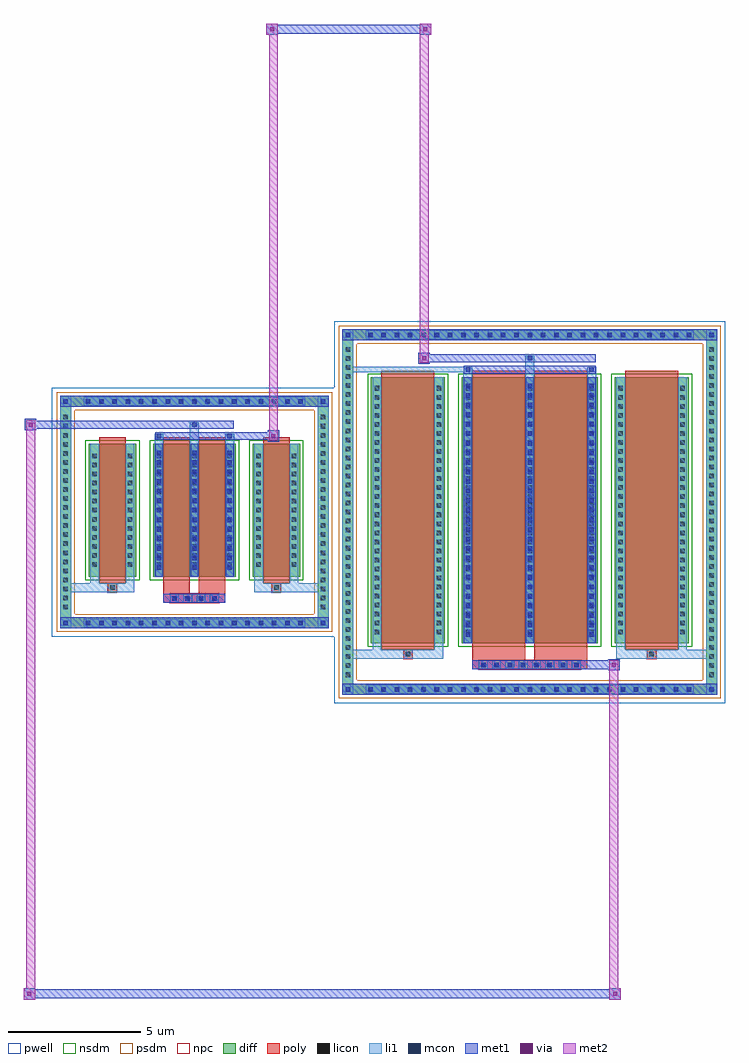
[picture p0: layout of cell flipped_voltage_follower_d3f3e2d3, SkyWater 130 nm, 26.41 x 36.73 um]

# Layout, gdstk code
import gdstk
lib = gdstk.Library(unit=1e-6, precision=5e-09)
def R(c, l, rs):  # rectangles x0, y0, x1, y1
    for r in rs: c.add(gdstk.rectangle(r[:2], r[2:], *l))
def A(c, l, x, y, w, h, nx, ny, dx, dy):  # array of equal rectangles
    R(c, l, [(x+i*dx, y+j*dy, x+i*dx+w, y+j*dy+h) for i in range(nx) for j in range(ny)])
def P(c, l, *ps):  # polygons
    for p in ps: c.add(gdstk.Polygon(p, *l))
pwell = (64, 44)
diff = (65, 20)
poly = (66, 20)
licon = (66, 44)
li1 = (67, 20)
mcon = (67, 44)
met1 = (68, 20)
via = (68, 44)
met2 = (69, 20)
nsdm = (93, 44)
psdm = (94, 20)
npc = (95, 20)

flipped_voltage_follower = lib.new_cell('flipped_voltage_follower_d3f3e2d3')
R(flipped_voltage_follower, pwell, [(5.26,-7.185,19.98,7.185), (-5.36,-4.685,5.36,4.685)])
A(flipped_voltage_follower, diff, 6.415, -6.875, 0.41, 0.41, 25, 2, 0.5, 13.34)
A(flipped_voltage_follower, diff, 5.57, -6.325, 0.41, 0.41, 1, 37, 0, 0.34)
A(flipped_voltage_follower, diff, 19.26, -6.325, 0.41, 0.41, 1, 37, 0, 0.34)
A(flipped_voltage_follower, diff, -4.205, -4.375, 0.41, 0.41, 17, 2, 0.5, 8.34)
A(flipped_voltage_follower, diff, -5.05, -3.775, 0.41, 0.41, 1, 22, 0, 0.34)
A(flipped_voltage_follower, diff, 4.64, -3.775, 0.41, 0.41, 1, 22, 0, 0.34)
R(flipped_voltage_follower, diff, [(6.415,-6.875,18.825,-6.465), (5.57,-6.325,5.98,6.325), (19.26,-6.325,19.67,6.325), (6.645,-4.93,9.425,5.07), (10.065,-4.93,15.175,5.07), (15.815,-4.93,18.595,5.07), (-4.205,-4.375,4.205,-3.965), (-5.05,-3.775,-4.64,3.775), (4.64,-3.775,5.05,3.775), (-3.975,-2.43,-2.195,2.57), (-1.555,-2.43,1.555,2.57), (2.195,-2.43,3.975,2.57), (-4.205,3.965,4.205,4.375), (6.415,6.465,18.825,6.875)])
P(flipped_voltage_follower, diff, [(5.05,4.375),(-5.05,4.375),(-5.05,-3.965),(-4.64,-3.965),(-4.64,3.965),(4.64,3.965),(4.64,-3.965),(-4.64,-3.965),(-5.05,-3.965),(-5.05,-4.375),(5.05,-4.375)],
  [(19.67,6.875),(5.57,6.875),(5.57,-6.465),(5.98,-6.465),(5.98,6.465),(19.26,6.465),(19.26,-6.465),(5.98,-6.465),(5.57,-6.465),(5.57,-6.875),(19.67,-6.875)])
A(flipped_voltage_follower, poly, 10.705, -5.91, 0.33, 0.33, 8, 1, 0.5, 0)
A(flipped_voltage_follower, poly, -0.915, -3.41, 0.33, 0.33, 4, 1, 0.5, 0)
R(flipped_voltage_follower, poly, [(10.455,-5.91,14.785,-5.58), (10.455,-5.58,12.455,-5.18), (12.785,-5.58,14.785,-5.18), (7.87,-5.51,8.2,-5.18), (7.87,-5.51,8.2,-5.18), (17.04,-5.51,17.37,-5.18), (17.04,-5.51,17.37,-5.18), (7.035,-5.18,9.035,5.32), (10.455,-5.18,12.455,5.32), (12.785,-5.18,14.785,5.32), (16.205,-5.18,18.205,5.32), (-1.165,-3.41,1.165,-3.08), (-1.165,-3.08,-0.165,-2.68), (0.165,-3.08,1.165,-2.68), (-3.25,-3.01,-2.92,-2.68), (-3.25,-3.01,-2.92,-2.68), (2.92,-3.01,3.25,-2.68), (2.92,-3.01,3.25,-2.68), (-3.585,-2.68,-2.585,2.82), (-1.165,-2.68,-0.165,2.82), (0.165,-2.68,1.165,2.82), (2.585,-2.68,3.585,2.82)])
A(flipped_voltage_follower, licon, 6.535, -6.755, 0.17, 0.17, 25, 2, 0.5, 13.34)
A(flipped_voltage_follower, licon, 5.69, -6.205, 0.17, 0.17, 1, 37, 0, 0.34)
A(flipped_voltage_follower, licon, 19.38, -6.205, 0.17, 0.17, 1, 37, 0, 0.34)
A(flipped_voltage_follower, licon, 10.785, -5.83, 0.17, 0.17, 8, 1, 0.5, 0)
A(flipped_voltage_follower, licon, 6.785, -4.605, 0.17, 0.17, 1, 28, 0, 0.34)
A(flipped_voltage_follower, licon, 9.115, -4.605, 0.17, 0.17, 1, 28, 0, 0.34)
A(flipped_voltage_follower, licon, 10.205, -4.605, 0.17, 0.17, 3, 28, 2.33, 0.34)
A(flipped_voltage_follower, licon, 15.955, -4.605, 0.17, 0.17, 1, 28, 0, 0.34)
A(flipped_voltage_follower, licon, 18.285, -4.605, 0.17, 0.17, 1, 28, 0, 0.34)
A(flipped_voltage_follower, licon, -4.085, -4.255, 0.17, 0.17, 17, 2, 0.5, 8.34)
A(flipped_voltage_follower, licon, -4.93, -3.655, 0.17, 0.17, 1, 22, 0, 0.34)
A(flipped_voltage_follower, licon, 4.76, -3.655, 0.17, 0.17, 1, 22, 0, 0.34)
A(flipped_voltage_follower, licon, -0.835, -3.33, 0.17, 0.17, 4, 1, 0.5, 0)
A(flipped_voltage_follower, licon, -3.835, -2.055, 0.17, 0.17, 1, 13, 0, 0.34)
A(flipped_voltage_follower, licon, -2.505, -2.055, 0.17, 0.17, 1, 13, 0, 0.34)
A(flipped_voltage_follower, licon, -1.415, -2.055, 0.17, 0.17, 3, 13, 1.33, 0.34)
A(flipped_voltage_follower, licon, 2.335, -2.055, 0.17, 0.17, 1, 13, 0, 0.34)
A(flipped_voltage_follower, licon, 3.665, -2.055, 0.17, 0.17, 1, 13, 0, 0.34)
R(flipped_voltage_follower, licon, [(7.95,-5.43,8.12,-5.26), (17.12,-5.43,17.29,-5.26), (-3.17,-2.93,-3,-2.76), (3,-2.93,3.17,-2.76)])
A(flipped_voltage_follower, li1, 6.455, -6.835, 0.33, 0.33, 25, 2, 0.5, 13.34)
A(flipped_voltage_follower, li1, 5.61, -6.285, 0.33, 0.33, 1, 37, 0, 0.34)
A(flipped_voltage_follower, li1, 19.3, -6.285, 0.33, 0.33, 1, 37, 0, 0.34)
A(flipped_voltage_follower, li1, 10.705, -5.91, 0.33, 0.33, 8, 1, 0.5, 0)
A(flipped_voltage_follower, li1, 10.125, -4.93, 0.33, 10, 3, 1, 2.33, 0)
A(flipped_voltage_follower, li1, 10.205, -4.695, 0.17, 0.17, 3, 27, 2.33, 0.36)
A(flipped_voltage_follower, li1, 10.205, -4.695, 0.17, 9.53, 3, 1, 2.33, 0)
A(flipped_voltage_follower, li1, 6.705, -4.685, 0.33, 0.33, 1, 28, 0, 0.34)
A(flipped_voltage_follower, li1, 9.035, -4.685, 0.33, 0.33, 1, 28, 0, 0.34)
A(flipped_voltage_follower, li1, 10.125, -4.685, 0.33, 0.33, 3, 28, 2.33, 0.34)
A(flipped_voltage_follower, li1, 15.875, -4.685, 0.33, 0.33, 1, 28, 0, 0.34)
A(flipped_voltage_follower, li1, 18.205, -4.685, 0.33, 0.33, 1, 28, 0, 0.34)
A(flipped_voltage_follower, li1, -4.165, -4.335, 0.33, 0.33, 17, 2, 0.5, 8.34)
A(flipped_voltage_follower, li1, -5.01, -3.735, 0.33, 0.33, 1, 22, 0, 0.34)
A(flipped_voltage_follower, li1, 4.68, -3.735, 0.33, 0.33, 1, 22, 0, 0.34)
A(flipped_voltage_follower, li1, -0.915, -3.41, 0.33, 0.33, 4, 1, 0.5, 0)
A(flipped_voltage_follower, li1, -1.495, -2.43, 0.33, 5, 3, 1, 1.33, 0)
A(flipped_voltage_follower, li1, -1.415, -2.175, 0.17, 0.17, 3, 13, 1.33, 0.36)
A(flipped_voltage_follower, li1, -1.415, -2.175, 0.17, 4.49, 3, 1, 1.33, 0)
A(flipped_voltage_follower, li1, -3.915, -2.135, 0.33, 0.33, 1, 13, 0, 0.34)
A(flipped_voltage_follower, li1, -2.585, -2.135, 0.33, 0.33, 1, 13, 0, 0.34)
A(flipped_voltage_follower, li1, -1.495, -2.135, 0.33, 0.33, 3, 13, 1.33, 0.34)
A(flipped_voltage_follower, li1, 2.255, -2.135, 0.33, 0.33, 1, 13, 0, 0.34)
A(flipped_voltage_follower, li1, 3.585, -2.135, 0.33, 0.33, 1, 13, 0, 0.34)
R(flipped_voltage_follower, li1, [(5.57,-6.875,5.98,-6.465), (19.26,-6.875,19.67,-6.465), (6.455,-6.835,18.785,-6.505), (5.69,-6.755,5.86,-6.585), (5.69,-6.755,5.86,-6.585), (19.38,-6.755,19.55,-6.585), (19.38,-6.755,19.55,-6.585), (5.57,-6.465,5.98,6.465), (19.26,-6.465,19.67,6.465), (5.57,-5.51,7.87,-5.18), (6.705,-5.51,7.035,-4.93), (6.705,-5.51,7.87,-5.18), (7.87,-5.51,8.2,-5.18), (8.2,-5.51,9.365,-5.18), (9.035,-5.51,9.365,-4.93), (15.875,-5.51,16.205,-4.93), (15.875,-5.51,17.04,-5.18), (17.04,-5.51,17.37,-5.18), (17.04,-5.51,19.67,-5.18), (17.37,-5.51,18.535,-5.18), (18.205,-5.51,18.535,-4.93), (6.705,-4.93,7.035,5.07), (9.035,-4.93,9.365,5.07), (15.875,-4.93,16.205,5.07), (18.205,-4.93,18.535,5.07), (-5.05,-4.375,-4.64,-3.965), (4.64,-4.375,5.05,-3.965), (-4.165,-4.335,4.165,-4.005), (-4.93,-4.255,-4.76,-4.085), (-4.93,-4.255,-4.76,-4.085), (4.76,-4.255,4.93,-4.085), (4.76,-4.255,4.93,-4.085), (-5.05,-3.965,-4.64,3.965), (4.64,-3.965,5.05,3.965), (-5.05,-3.01,-3.25,-2.68), (-3.915,-3.01,-3.25,-2.68), (-3.915,-3.01,-3.585,-2.43), (-3.25,-3.01,-2.92,-2.68), (-2.92,-3.01,-2.255,-2.68), (-2.585,-3.01,-2.255,-2.43), (2.255,-3.01,2.92,-2.68), (2.255,-3.01,2.585,-2.43), (2.92,-3.01,3.25,-2.68), (2.92,-3.01,5.05,-2.68), (3.25,-3.01,3.915,-2.68), (3.585,-3.01,3.915,-2.43), (-3.915,-2.43,-3.585,2.57), (-2.585,-2.43,-2.255,2.57), (2.255,-2.43,2.585,2.57), (3.585,-2.43,3.915,2.57), (-1.495,2.57,-1.165,2.945), (-0.165,2.57,0.165,3.375), (1.165,2.57,1.495,2.945), (-1.415,2.775,-1.245,2.945), (1.245,2.775,1.415,2.945), (-0.085,3.205,0.085,3.375), (-5.05,3.965,-4.64,4.375), (4.64,3.965,5.05,4.375), (-4.165,4.005,4.165,4.335), (-4.93,4.085,-4.76,4.255), (-4.93,4.085,-4.76,4.255), (4.76,4.085,4.93,4.255), (4.76,4.085,4.93,4.255), (10.125,5.07,10.455,5.445), (12.455,5.07,12.785,5.875), (14.785,5.07,15.115,5.445), (10.145,5.215,10.435,5.505), (5.57,5.26,10.145,5.46), (10.205,5.275,10.375,5.445), (10.205,5.275,10.375,5.445), (14.865,5.275,15.035,5.445), (12.535,5.705,12.705,5.875), (5.57,6.465,5.98,6.875), (19.26,6.465,19.67,6.875), (6.455,6.505,18.785,6.835), (5.69,6.585,5.86,6.755), (5.69,6.585,5.86,6.755), (19.38,6.585,19.55,6.755), (19.38,6.585,19.55,6.755)])
A(flipped_voltage_follower, mcon, 6.535, -6.755, 0.17, 0.17, 25, 2, 0.5, 13.34)
A(flipped_voltage_follower, mcon, 10.785, -5.83, 0.17, 0.17, 8, 1, 0.5, 0)
A(flipped_voltage_follower, mcon, 10.205, -4.695, 0.17, 0.17, 3, 27, 2.33, 0.36)
A(flipped_voltage_follower, mcon, -4.085, -4.255, 0.17, 0.17, 17, 2, 0.5, 8.34)
A(flipped_voltage_follower, mcon, -0.835, -3.33, 0.17, 0.17, 4, 1, 0.5, 0)
A(flipped_voltage_follower, mcon, -1.415, -2.175, 0.17, 0.17, 3, 13, 1.33, 0.36)
R(flipped_voltage_follower, mcon, [(5.69,-6.755,5.86,-6.585), (19.38,-6.755,19.55,-6.585), (-4.93,-4.255,-4.76,-4.085), (4.76,-4.255,4.93,-4.085), (-1.415,2.775,-1.245,2.945), (1.245,2.775,1.415,2.945), (-0.085,3.205,0.085,3.375), (-4.93,4.085,-4.76,4.255), (4.76,4.085,4.93,4.255), (10.205,5.275,10.375,5.445), (10.205,5.275,10.375,5.445), (14.865,5.275,15.035,5.445), (12.535,5.705,12.705,5.875), (5.69,6.585,5.86,6.755), (19.38,6.585,19.55,6.755)])
A(flipped_voltage_follower, met1, 6.475, -6.815, 0.29, 0.29, 25, 2, 0.5, 13.34)
A(flipped_voltage_follower, met1, 10.725, -5.89, 0.29, 0.29, 8, 1, 0.5, 0)
A(flipped_voltage_follower, met1, 10.145, -4.93, 0.29, 10, 3, 1, 2.33, 0)
A(flipped_voltage_follower, met1, 10.145, -4.755, 0.29, 0.29, 3, 27, 2.33, 0.36)
A(flipped_voltage_follower, met1, -4.145, -4.315, 0.29, 0.29, 17, 2, 0.5, 8.34)
A(flipped_voltage_follower, met1, -0.895, -3.39, 0.29, 0.29, 4, 1, 0.5, 0)
A(flipped_voltage_follower, met1, -1.475, -2.43, 0.29, 5, 3, 1, 1.33, 0)
A(flipped_voltage_follower, met1, -1.475, -2.235, 0.29, 0.29, 3, 13, 1.33, 0.36)
R(flipped_voltage_follower, met1, [(-6.425,-18.34,-5.995,-17.91), (15.62,-18.34,16.05,-17.91), (-6.425,-18.29,16.05,-17.96), (-6.425,-17.96,-5.995,-17.91), (15.62,-17.96,16.05,-17.91), (5.57,-6.875,5.98,-6.465), (5.57,-6.875,5.98,-6.465), (5.98,-6.875,19.26,-6.465), (19.26,-6.875,19.67,-6.465), (19.26,-6.875,19.67,-6.465), (5.63,-6.815,5.92,-6.525), (19.32,-6.815,19.61,-6.525), (15.57,-5.96,16,-5.53), (10.455,-5.91,14.785,-5.58), (14.785,-5.91,15.57,-5.58), (-5.05,-4.375,-4.64,-3.965), (-5.05,-4.375,-4.64,-3.965), (-4.64,-4.375,4.64,-3.965), (4.64,-4.375,5.05,-3.965), (4.64,-4.375,5.05,-3.965), (-4.99,-4.315,-4.7,-4.025), (4.7,-4.315,4.99,-4.025), (-1.165,-3.41,1.165,-3.08), (2.76,2.645,3.19,3.075), (-1.475,2.715,-1.185,3.005), (-1.475,2.715,1.475,3.005), (1.185,2.715,1.475,3.005), (1.475,2.715,2.76,3.005), (-6.375,3.075,-5.945,3.505), (-5.945,3.145,-1.475,3.435), (-1.475,3.145,1.475,3.435), (-0.145,3.145,0.145,3.435), (-5.05,3.965,-4.64,4.375), (-5.05,3.965,-4.64,4.375), (-4.64,3.965,4.64,4.375), (4.64,3.965,5.05,4.375), (4.64,3.965,5.05,4.375), (-4.99,4.025,-4.7,4.315), (4.7,4.025,4.99,4.315), (10.145,5.215,10.435,5.505), (10.145,5.215,10.435,5.505), (10.145,5.215,15.095,5.505), (14.805,5.215,15.095,5.505), (8.43,5.575,8.86,6.005), (8.86,5.645,10.145,5.935), (10.145,5.645,15.095,5.935), (12.475,5.645,12.765,5.935), (5.57,6.465,5.98,6.875), (5.57,6.465,5.98,6.875), (5.98,6.465,19.26,6.875), (19.26,6.465,19.67,6.875), (19.26,6.465,19.67,6.875), (5.63,6.525,5.92,6.815), (19.32,6.525,19.61,6.815), (2.71,17.955,3.14,18.385), (8.48,17.955,8.91,18.385), (2.71,18.005,8.91,18.335), (2.71,18.335,3.14,18.385), (8.48,18.335,8.91,18.385)])
R(flipped_voltage_follower, via, [(-6.285,-18.2,-6.135,-18.05), (15.76,-18.2,15.91,-18.05), (15.71,-5.82,15.86,-5.67), (2.9,2.785,3.05,2.935), (-6.235,3.215,-6.085,3.365), (8.57,5.715,8.72,5.865), (2.85,18.095,3,18.245), (8.62,18.095,8.77,18.245)])
R(flipped_voltage_follower, met2, [(-6.425,-18.34,-5.995,-17.91), (-6.325,-18.34,-5.995,3.125), (15.62,-18.34,16.05,-17.91), (15.62,-18.34,15.95,-5.91), (-6.375,-18.29,-6.045,-17.96), (15.67,-18.29,16,-17.96), (15.62,-5.91,15.95,-5.58), (2.81,2.695,3.14,3.025), (2.81,3.025,3.14,18.385), (-6.325,3.125,-5.995,3.455), (8.48,5.625,8.81,5.955), (8.48,5.955,8.81,18.385), (2.71,17.955,3.14,18.385), (8.48,17.955,8.91,18.385), (2.76,18.005,3.09,18.335), (8.53,18.005,8.86,18.335)])
R(flipped_voltage_follower, nsdm, [(6.515,-5.06,9.555,5.2), (9.935,-5.06,15.305,5.2), (15.685,-5.06,18.725,5.2), (-4.105,-2.56,-2.065,2.7), (-1.685,-2.56,1.685,2.7), (2.065,-2.56,4.105,2.7)])
P(flipped_voltage_follower, psdm, [(5.18,4.505),(-5.18,4.505),(-5.18,-3.835),(-4.51,-3.835),(-4.51,3.835),(4.51,3.835),(4.51,-3.835),(-4.51,-3.835),(-5.18,-3.835),(-5.18,-4.505),(5.18,-4.505)],
  [(19.8,7.005),(5.44,7.005),(5.44,-6.335),(6.11,-6.335),(6.11,6.335),(19.13,6.335),(19.13,-6.335),(6.11,-6.335),(5.44,-6.335),(5.44,-7.005),(19.8,-7.005)])
A(flipped_voltage_follower, npc, 10.685, -5.93, 0.37, 0.37, 8, 1, 0.5, 0)
A(flipped_voltage_follower, npc, -0.935, -3.43, 0.37, 0.37, 4, 1, 0.5, 0)
R(flipped_voltage_follower, npc, [(10.685,-5.93,11.555,-5.56), (10.685,-5.93,11.555,-5.56), (11.185,-5.93,12.055,-5.56), (11.185,-5.93,12.055,-5.56), (11.685,-5.93,12.555,-5.56), (11.685,-5.93,12.555,-5.56), (12.185,-5.93,13.055,-5.56), (12.185,-5.93,13.055,-5.56), (12.685,-5.93,13.555,-5.56), (12.685,-5.93,13.555,-5.56), (13.185,-5.93,14.055,-5.56), (13.185,-5.93,14.055,-5.56), (13.685,-5.93,14.555,-5.56), (13.685,-5.93,14.555,-5.56), (7.85,-5.53,8.22,-5.16), (17.02,-5.53,17.39,-5.16), (-0.935,-3.43,-0.065,-3.06), (-0.935,-3.43,-0.065,-3.06), (-0.435,-3.43,0.435,-3.06), (-0.435,-3.43,0.435,-3.06), (0.065,-3.43,0.935,-3.06), (0.065,-3.43,0.935,-3.06), (-3.27,-3.03,-2.9,-2.66), (2.9,-3.03,3.27,-2.66)])

lib.write_gds('flipped_voltage_follower_d3f3e2d3.gds')
